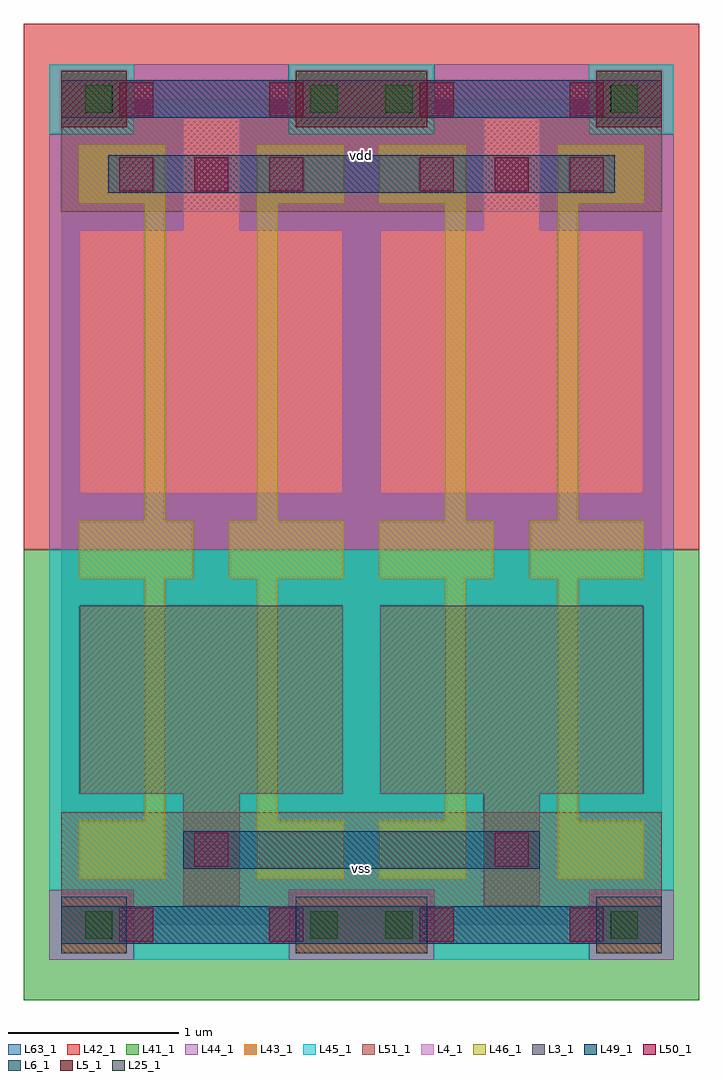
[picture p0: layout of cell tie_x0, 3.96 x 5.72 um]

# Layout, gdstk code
import gdstk
lib = gdstk.Library(unit=1e-6, precision=1e-09)
def R(c, l, rs):  # rectangles x0, y0, x1, y1
    for r in rs: c.add(gdstk.rectangle(r[:2], r[2:], *l))
def A(c, l, x, y, w, h, nx, ny, dx, dy):  # array of equal rectangles
    R(c, l, [(x+i*dx, y+j*dy, x+i*dx+w, y+j*dy+h) for i in range(nx) for j in range(ny)])
L3_1 = (3, 1)
L4_1 = (4, 1)
L5_1 = (5, 1)
L6_1 = (6, 1)
L25_1 = (25, 1)
L41_1 = (41, 1)
L42_1 = (42, 1)
L43_1 = (43, 1)
L44_1 = (44, 1)
L45_1 = (45, 1)
L46_1 = (46, 1)
L49_1 = (49, 1)
L50_1 = (50, 1)
L51_1 = (51, 1)
L63_1 = (63, 1)

tie_x0 = lib.new_cell('tie_x0')
R(tie_x0, L3_1, [(0.715,0.11,1.045,0.77), (2.475,0.11,2.805,0.77), (0.11,0.77,1.65,1.87), (1.87,0.77,3.41,1.87)])
R(tie_x0, L4_1, [(0.11,2.53,1.65,4.07), (1.87,2.53,3.41,4.07), (0.715,4.07,1.045,4.73), (2.475,4.07,2.805,4.73)])
R(tie_x0, L5_1, [(0,4.675,0.385,5.005), (1.375,4.675,2.145,5.005), (3.135,4.675,3.52,5.005)])
R(tie_x0, L6_1, [(0,-0.165,0.385,0.165), (1.375,-0.165,2.145,0.165), (3.135,-0.165,3.52,0.165)])
R(tie_x0, L25_1, [(0.14,-0.08,0.3,0.08), (1.46,-0.08,1.62,0.08), (1.9,-0.08,2.06,0.08), (3.22,-0.08,3.38,0.08), (0.14,4.76,0.3,4.92), (1.46,4.76,1.62,4.92), (1.9,4.76,2.06,4.92), (3.22,4.76,3.38,4.92)])
R(tie_x0, L41_1, [(-0.22,-0.44,3.74,2.2)])
R(tie_x0, L42_1, [(-0.22,2.2,3.74,5.28)])
R(tie_x0, L43_1, [(0,-0.165,0.385,0.165), (1.375,-0.165,2.145,0.165), (3.135,-0.165,3.52,0.165), (0.715,0.11,1.045,0.77), (2.475,0.11,2.805,0.77), (0.11,0.77,1.65,1.87), (1.87,0.77,3.41,1.87), (0.11,2.53,1.65,4.07), (1.87,2.53,3.41,4.07), (0.715,4.07,1.045,4.73), (2.475,4.07,2.805,4.73), (0,4.675,0.385,5.005), (1.375,4.675,2.145,5.005), (3.135,4.675,3.52,5.005)])
R(tie_x0, L44_1, [(-0.07,-0.205,0.425,0.205), (1.335,-0.205,2.185,0.205), (3.095,-0.205,3.59,0.205), (-0.07,2.2,3.59,4.635), (0.425,4.635,1.335,5.045), (2.185,4.635,3.095,5.045)])
R(tie_x0, L45_1, [(0.425,-0.205,1.335,0.205), (2.185,-0.205,3.095,0.205), (-0.07,0.205,3.59,2.2), (-0.07,4.635,0.425,5.045), (1.335,4.635,2.185,5.045), (3.095,4.635,3.59,5.045)])
A(tie_x0, L46_1, 0.105, 2.03, 0.67, 0.34, 4, 1, 0.88, 0)
R(tie_x0, L46_1, [(0.105,0.27,0.61,0.61), (1.15,0.27,1.655,0.61), (1.865,0.27,2.37,0.61), (2.91,0.27,3.415,0.61), (0.49,0.61,0.61,2.03), (1.15,0.61,1.27,2.03), (2.25,0.61,2.37,2.03), (2.91,0.61,3.03,2.03), (0.49,2.37,0.61,4.23), (1.15,2.37,1.27,4.23), (2.25,2.37,2.37,4.23), (2.91,2.37,3.03,4.23), (0.105,4.23,0.61,4.57), (1.15,4.23,1.655,4.57), (1.865,4.23,2.37,4.57), (2.91,4.23,3.415,4.57)])
R(tie_x0, L49_1, [(0,-0.11,3.52,0.11), (0.715,0.33,2.805,0.55), (0.275,4.29,3.245,4.51), (0,4.73,3.52,4.95)])
A(tie_x0, L50_1, 0.34, -0.1, 0.2, 0.2, 4, 2, 0.88, 4.84)
A(tie_x0, L50_1, 0.34, 4.3, 0.2, 0.2, 3, 1, 0.44, 0)
A(tie_x0, L50_1, 2.1, 4.3, 0.2, 0.2, 3, 1, 0.44, 0)
R(tie_x0, L50_1, [(0.78,0.34,0.98,0.54), (2.54,0.34,2.74,0.54)])
R(tie_x0, L51_1, [(0,-0.11,3.52,0.66), (0,4.18,3.52,4.95)])
R(tie_x0, L63_1, [(0,0,3.52,4.84)])
tie_x0.add(gdstk.Label('vss', (1.76,0.33), layer=51, texttype=1))
tie_x0.add(gdstk.Label('vdd', (1.76,4.51), layer=51, texttype=1))

lib.write_gds('tie_x0.gds')
